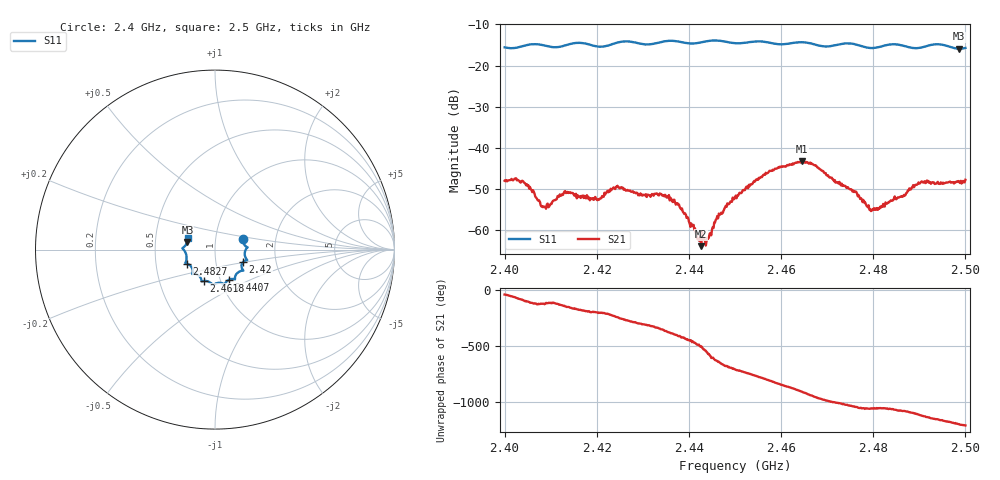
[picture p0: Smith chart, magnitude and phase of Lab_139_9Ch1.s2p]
# Hz S RI R 50
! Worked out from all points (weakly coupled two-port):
!   601 points, 2.4 GHz to 2.5 GHz, reference 50 ohm
!   highest |S21| = -43.30 dB at 2.4645 GHz (marker M1); lowest = -64.0 dB at 2.4427 GHz (marker M2)
!   lowest |S11| = -15.9 dB at 2.4987 GHz (marker M3), VSWR 1.38, Z = 36.5 + j3.23 ohm
!   |S11| at or under -10 dB: start of sweep to end of sweep
!   S12 and S22 are empty: the file has one direction only
!   S11 on the Smith chart (normalised r, x): 2.4 GHz: 1.35, +0.17; 2.42 GHz: 1.35, -0.19; 2.4407 GHz: 1.10, -0.38; 2.4618 GHz: 0.83, -0.30; 2.4827 GHz: 0.72, -0.12; 2.5 GHz: 0.73, +0.10
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2.4e9  0.1545 0.0613  0.00311 -0.00245  0 0  0 0
2.404333e9  0.1738 0.0163  -0.0002 -0.00371  0 0  0 0
2.4085e9  0.1758 0.0069  -0.000968 -0.00165  0 0  0 0
2.413333e9  0.1707 -0.0457  -0.00234 -0.00154  0 0  0 0
2.416667e9  0.1789 -0.0585  -0.00259 -8.06e-05  0 0  0 0
2.42e9  0.1563 -0.0691  -0.0022 0.000736  0 0  0 0
2.424167e9  0.1526 -0.1096  -0.00175 0.00286  0 0  0 0
2.433333e9  0.1116 -0.1531  0.00246 0.000955  0 0  0 0
2.437333e9  0.1079 -0.1651  0.00156 -0.0014  0 0  0 0
2.440667e9  0.0791 -0.1674  -0.00031 -0.00107  0 0  0 0
2.442667e9  0.0618 -0.181  -0.000507 -0.00038  0 0  0 0
2.444e9  0.0559 -0.1899  -0.000752 0.000275  0 0  0 0
2.45e9  0.0269 -0.1848  0.00248 0.000395  0 0  0 0
2.461833e9  -0.0613 -0.1749  -0.00552 -0.00299  0 0  0 0
2.4645e9  -0.0745 -0.1771  -0.0067 0.00135  0 0  0 0
2.466667e9  -0.0758 -0.1681  -0.00447 0.0046  0 0  0 0
2.479167e9  -0.1292 -0.1006  0.00171 0.000442  0 0  0 0
2.482667e9  -0.158 -0.0777  0.00204 0.000687  0 0  0 0
2.483333e9  -0.1619 -0.077  0.0021 0.000464  0 0  0 0
2.490167e9  -0.1634 -0.0188  0.00269 -0.00252  0 0  0 0
2.498667e9  -0.1539 0.0431  -0.00211 -0.00318  0 0  0 0
2.5e9  -0.1511 0.0631  -0.00288 -0.00287  0 0  0 0
